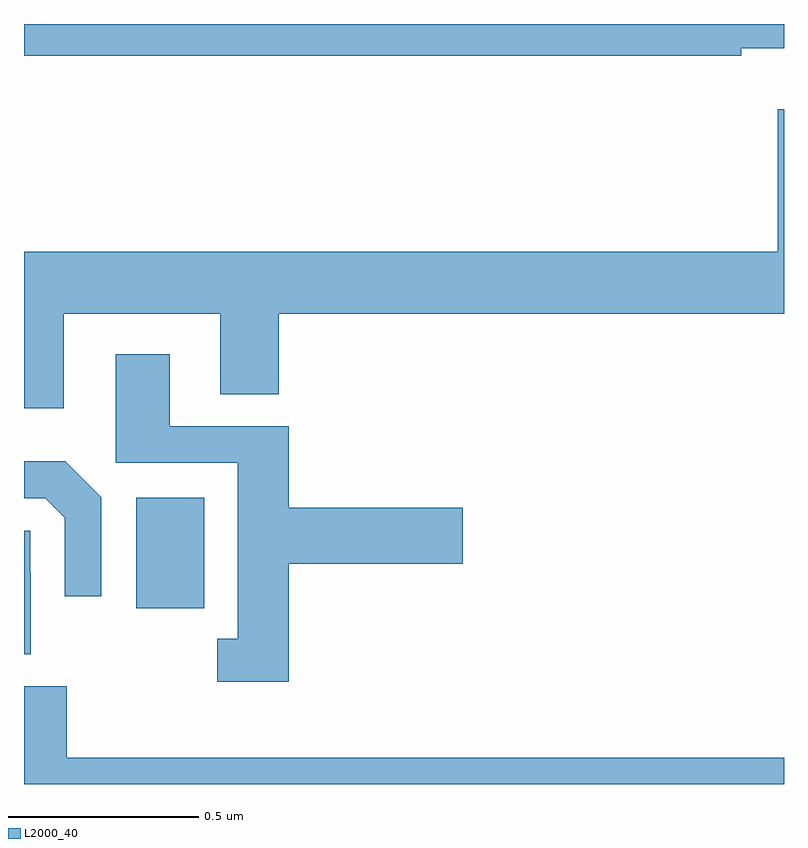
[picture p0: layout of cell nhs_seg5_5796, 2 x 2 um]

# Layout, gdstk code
import gdstk
lib = gdstk.Library(unit=1e-6, precision=1e-09)
def R(c, l, rs):  # rectangles x0, y0, x1, y1
    for r in rs: c.add(gdstk.rectangle(r[:2], r[2:], *l))
def P(c, l, *ps):  # polygons
    for p in ps: c.add(gdstk.Polygon(p, *l))
L2000_40 = (2000, 40)

nhs_seg5_5796 = lib.new_cell('nhs_seg5_5796')
R(nhs_seg5_5796, L2000_40, [(187.295,913.262,187.474,913.552)])
P(nhs_seg5_5796, L2000_40, [(188.888,914.735),(189,914.735),(189,914.799),(187,914.799),(187,914.716),(188.888,914.716)],
  [(187.105,914.036),(187.517,914.036),(187.517,913.825),(187.67,913.825),(187.67,914.036),(189,914.036),(189,914.575),(188.984,914.575),(188.984,914.2),(187,914.2),(187,913.788),(187.105,913.788)],
  [(187.697,913.379),(188.155,913.379),(188.155,913.526),(187.697,913.526),(187.697,913.74),(187.384,913.74),(187.384,913.93),(187.241,913.93),(187.241,913.644),(187.562,913.644),(187.562,913.181),(187.509,913.181),(187.509,913.068),(187.697,913.068)],
  [(187.203,913.554),(187.109,913.648),(187,913.648),(187,913.551),(187.056,913.551),(187.107,913.5),(187.107,913.293),(187.203,913.293)],
  [(187.018,913.355),(187.017,913.355),(187.017,913.466),(187,913.466),(187,913.141),(187.018,913.141)],
  [(189,912.868),(187.113,912.868),(187.113,913.056),(187,913.056),(187,912.799),(189,912.799)])

lib.write_gds('nhs_seg5_5796.gds')
